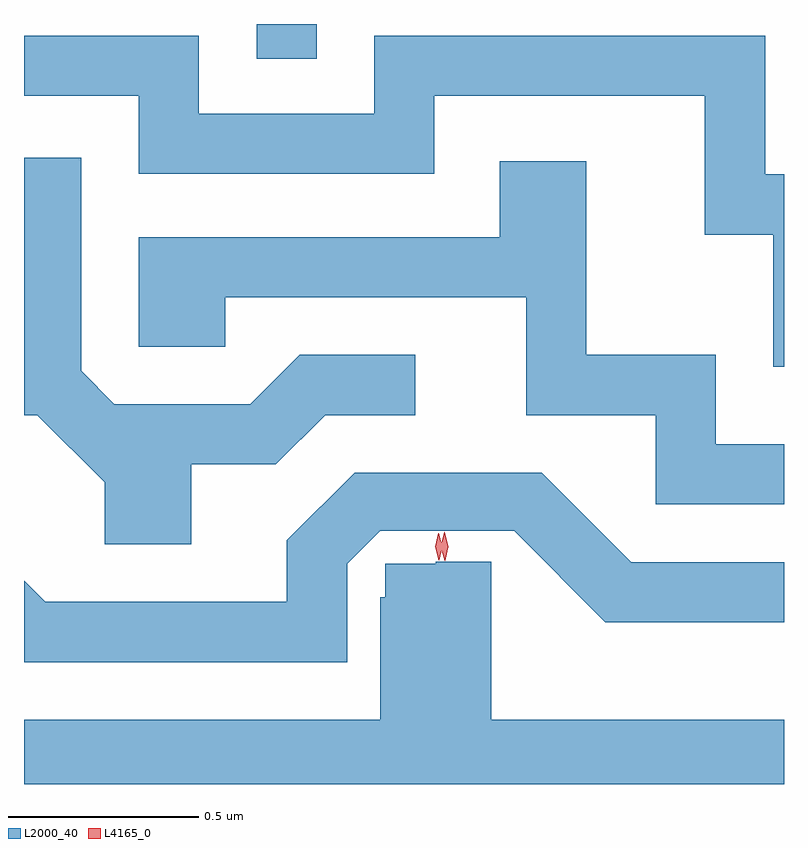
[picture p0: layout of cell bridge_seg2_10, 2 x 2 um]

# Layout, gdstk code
import gdstk
lib = gdstk.Library(unit=1e-6, precision=1e-09)
def R(c, l, rs):  # rectangles x0, y0, x1, y1
    for r in rs: c.add(gdstk.rectangle(r[:2], r[2:], *l))
def P(c, l, *ps):  # polygons
    for p in ps: c.add(gdstk.Polygon(p, *l))
L2000_40 = (2000, 40)
L4165_0 = (4165, 0)

bridge_seg2_10 = lib.new_cell('bridge_seg2_10')
R(bridge_seg2_10, L2000_40, [(1894.901,1014.803,1895.059,1014.895)])
P(bridge_seg2_10, L2000_40, [(1896.289,1014.499),(1896.239,1014.499),(1896.239,1014.864),(1895.211,1014.864),(1895.211,1014.659),(1894.749,1014.659),(1894.749,1014.864),(1894.289,1014.864),(1894.289,1014.706),(1894.591,1014.706),(1894.591,1014.501),(1895.369,1014.501),(1895.369,1014.706),(1896.081,1014.706),(1896.081,1014.341),(1896.261,1014.341),(1896.261,1013.993),(1896.289,1013.993)],
  [(1894.729,1013.736),(1894.952,1013.736),(1895.082,1013.866),(1895.318,1013.866),(1895.318,1014.024),(1895.014,1014.024),(1894.884,1013.894),(1894.527,1013.894),(1894.439,1013.982),(1894.439,1014.543),(1894.289,1014.543),(1894.289,1013.866),(1894.324,1013.866),(1894.501,1013.689),(1894.501,1013.526),(1894.729,1013.526)],
  [(1896.289,1013.789),(1896.109,1013.789),(1896.109,1014.024),(1895.769,1014.024),(1895.769,1014.534),(1895.541,1014.534),(1895.541,1014.334),(1894.591,1014.334),(1894.591,1014.046),(1894.819,1014.046),(1894.819,1014.176),(1895.611,1014.176),(1895.611,1013.866),(1895.951,1013.866),(1895.951,1013.631),(1896.289,1013.631)],
  [(1895.139,1013.474),(1895.226,1013.561),(1895.579,1013.561),(1895.819,1013.321),(1896.289,1013.321),(1896.289,1013.479),(1895.887,1013.479),(1895.652,1013.714),(1895.159,1013.714),(1894.981,1013.537),(1894.981,1013.374),(1894.345,1013.374),(1894.289,1013.43),(1894.289,1013.216),(1895.139,1013.216)],
  [(1896.289,1013.064),(1895.519,1013.064),(1895.519,1013.387),(1895.518,1013.387),(1895.518,1013.48),(1895.373,1013.48),(1895.373,1013.475),(1895.24,1013.475),(1895.24,1013.387),(1895.226,1013.387),(1895.226,1013.064),(1894.289,1013.064),(1894.289,1012.895),(1896.289,1012.895)])
P(bridge_seg2_10, L4165_0, [(1895.397,1013.482),(1895.396,1013.483),(1895.386,1013.52),(1895.395,1013.557),(1895.395,1013.558),(1895.396,1013.557),(1895.406,1013.52),(1895.397,1013.483)],
  [(1895.381,1013.484),(1895.381,1013.484),(1895.371,1013.519),(1895.379,1013.555),(1895.38,1013.555),(1895.38,1013.555),(1895.39,1013.52),(1895.382,1013.484)])

lib.write_gds('bridge_seg2_10.gds')
